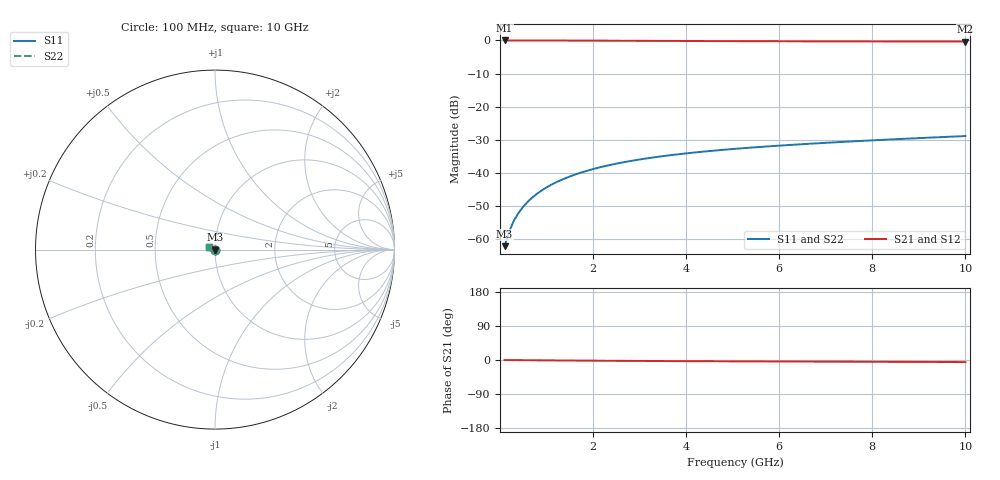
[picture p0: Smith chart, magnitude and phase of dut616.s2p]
! Touchstone file exported from HFSS 2024.1.0
!  File:  C:/UserFiles/LocalFiles/RDL_TSV_Batchsim/temp_TSV1_616_1779788780.aedt
!  Generated:  05:54:25 PM May 26, 2026
!  Design:  TSV1
!  Project:  temp_TSV1_616_1779788780
!  Setup:  Setup1
!  Solution:  Sweep
! Variables:
!  dtsv = 5.35um
!  hbump = 3um
!  htsv = 83.17um
!  lrdl = 252.1521522um
!  p = 40
!  p1 = 40.49um
!  t = 500um
!  trdl = 3um
!  wrdl = 24.89489489um
# GHz S MA R 50.000000
! Terminal data exported
! Port[1] = TSV22_T1
! Port[2] = TSV22_T2
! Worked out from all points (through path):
!   100 points, 100 MHz to 10 GHz, reference 50 ohm
!   highest |S21| = 0.00 dB at 100 MHz (marker M1); lowest = -0.3 dB at 10 GHz (marker M2)
!   lowest |S11| = -62.2 dB at 100 MHz (marker M3), VSWR 1.00, Z = 50 - j0.0613 ohm
!   |S11| at or under -10 dB: start of sweep to end of sweep
!   |S22| runs from -62.2 to -28.9 dB; largest |S21 - S12| = 4.1e-15
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0.1  0.0007795 -51.8  0.9995 -0.1  0.9995 -0.1  0.0007795 -51.8
! Gamma 0 0 0 0
! Port Impedance 50 0 50 0
0.2  0.001313 -70.9  0.9994 -0.2  0.9994 -0.2  0.001313 -70.9
0.3  0.001893 -79.9  0.9993 -0.3  0.9993 -0.3  0.001893 -79.9
0.4  0.002485 -85.5  0.9991 -0.4  0.9991 -0.4  0.002485 -85.5
0.5  0.00308 -89.7  0.999 -0.5  0.999 -0.5  0.00308 -89.7
0.6  0.003674 -93.1  0.9987 -0.6  0.9987 -0.6  0.003674 -93.1
0.7  0.004266 -96.1  0.9985 -0.7  0.9985 -0.7  0.004266 -96.1
0.8  0.004854 -98.8  0.9982 -0.8  0.9982 -0.8  0.004854 -98.8
0.9  0.005437 -101.3  0.9979 -0.9  0.9979 -0.9  0.005437 -101.3
1.1  0.006586 -105.9  0.9971 -1.1  0.9971 -1.1  0.006586 -105.9
1.4  0.008259 -112.1  0.9958 -1.3  0.9958 -1.3  0.008259 -112.1
1.6  0.009335 -116.0  0.9948 -1.5  0.9948 -1.5  0.009335 -116.0
1.8  0.01038 -119.7  0.9938 -1.6  0.9938 -1.6  0.01038 -119.7
2.1  0.01188 -124.9  0.9921 -1.9  0.9921 -1.9  0.01188 -124.9
2.5  0.01375 -131.6  0.9897 -2.2  0.9897 -2.2  0.01375 -131.6
2.9  0.01549 -137.8  0.9873 -2.4  0.9873 -2.4  0.01549 -137.8
3.4  0.01748 -144.9  0.9843 -2.7  0.9843 -2.7  0.01748 -144.9
4.2  0.02033 -155.2  0.9799 -3.1  0.9799 -3.1  0.02033 -155.2
5.1  0.02317 -165.4  0.9756 -3.5  0.9756 -3.5  0.02317 -165.4
6.7  0.02761 179.7  0.9697 -4.2  0.9697 -4.2  0.02761 179.7
8.4  0.03195 167.1  0.9652 -4.8  0.9652 -4.8  0.03195 167.1
10  0.03592 157.4  0.9622 -5.4  0.9622 -5.4  0.03592 157.4
